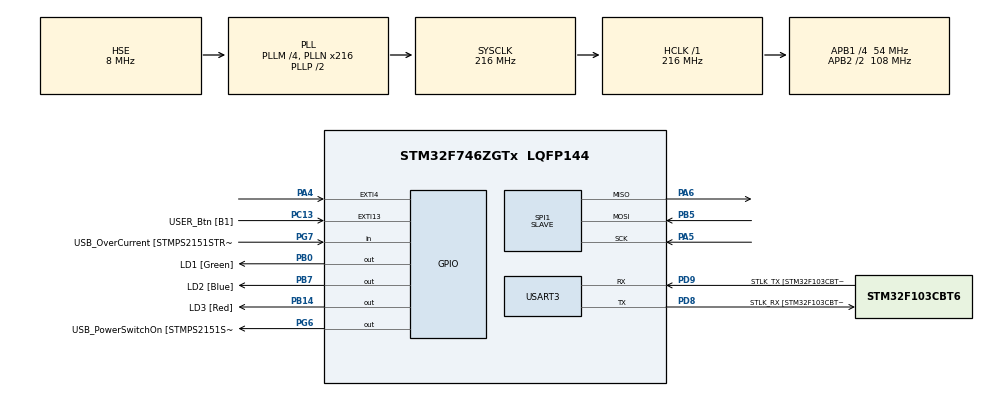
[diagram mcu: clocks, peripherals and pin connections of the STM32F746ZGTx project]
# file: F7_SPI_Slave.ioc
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Dma.Request0=SPI1_RX
Dma.Request1=SPI1_TX
Dma.SPI1_RX.0.Direction=DMA_PERIPH_TO_MEMORY
Dma.SPI1_RX.0.FIFOMode=DMA_FIFOMODE_DISABLE
Dma.SPI1_RX.0.Instance=DMA2_Stream0
Dma.SPI1_RX.0.MemDataAlignment=DMA_MDATAALIGN_BYTE
Dma.SPI1_RX.0.MemInc=DMA_MINC_ENABLE
Dma.SPI1_RX.0.Mode=DMA_NORMAL
Dma.SPI1_RX.0.PeriphDataAlignment=DMA_PDATAALIGN_BYTE
Dma.SPI1_RX.0.PeriphInc=DMA_PINC_DISABLE
Dma.SPI1_RX.0.Priority=DMA_PRIORITY_HIGH
Dma.SPI1_TX.1.Direction=DMA_MEMORY_TO_PERIPH
Dma.SPI1_TX.1.FIFOMode=DMA_FIFOMODE_DISABLE
Dma.SPI1_TX.1.Instance=DMA2_Stream3
Dma.SPI1_TX.1.MemDataAlignment=DMA_MDATAALIGN_BYTE
Dma.SPI1_TX.1.MemInc=DMA_MINC_ENABLE
Dma.SPI1_TX.1.Mode=DMA_NORMAL
Dma.SPI1_TX.1.PeriphDataAlignment=DMA_PDATAALIGN_BYTE
Dma.SPI1_TX.1.PeriphInc=DMA_PINC_DISABLE
Dma.SPI1_TX.1.Priority=DMA_PRIORITY_HIGH
Mcu.Family=STM32F7
Mcu.Name=STM32F746ZGTx
Mcu.Package=LQFP144
NVIC.DMA2_Stream0_IRQn=true\:0\:0\:false\:false\:true\:false\:true
NVIC.DMA2_Stream3_IRQn=true\:0\:0\:false\:false\:true\:false\:true
NVIC.EXTI4_IRQn=true\:0\:0\:false\:false\:true\:true\:true
NVIC.PriorityGroup=NVIC_PRIORITYGROUP_4
PA1.GPIO_Label=RMII_REF_CLK [LAN8742A-CZ-TR_REFCLK0]
PA1.Signal=ETH_REF_CLK
PA10.GPIO_Label=USB_ID
PA10.Signal=USB_OTG_FS_ID
PA11.GPIO_Label=USB_DM
PA11.Signal=USB_OTG_FS_DM
PA12.GPIO_Label=USB_DP
PA12.Signal=USB_OTG_FS_DP
PA13.GPIO_Label=TMS
PA13.Mode=Serial_Wire
PA13.Signal=SYS_JTMS-SWDIO
PA14.GPIO_Label=TCK
PA14.Mode=Serial_Wire
PA14.Signal=SYS_JTCK-SWCLK
PA2.GPIO_Label=RMII_MDIO [LAN8742A-CZ-TR_MDIO]
PA2.Signal=ETH_MDIO
PA4.GPIO_ModeDefaultEXTI=GPIO_MODE_IT_RISING_FALLING
PA4.Signal=GPXTI4
PA5.Mode=Full_Duplex_Slave
PA5.Signal=SPI1_SCK
PA6.Mode=Full_Duplex_Slave
PA6.Signal=SPI1_MISO
PA7.GPIO_Label=RMII_CRS_DV [LAN8742A-CZ-TR_CRS_DV]
PA7.Signal=ETH_CRS_DV
PA8.GPIO_Label=USB_SOF [TP1]
PA8.Signal=USB_OTG_FS_SOF
PA9.GPIO_Label=USB_VBUS
PA9.Signal=USB_OTG_FS_VBUS
PB0.GPIO_Label=LD1 [Green]
PB0.Signal=GPIO_Output
PB13.GPIO_Label=RMII_TXD1 [LAN8742A-CZ-TR_TXD1]
PB13.Signal=ETH_TXD1
PB14.GPIO_Label=LD3 [Red]
PB14.Signal=GPIO_Output
PB3.GPIO_Label=SW0
PB3.Signal=SYS_JTDO-SWO
PB5.Mode=Full_Duplex_Slave
PB5.Signal=SPI1_MOSI
PB7.GPIO_Label=LD2 [Blue]
PB7.Signal=GPIO_Output
PC1.GPIO_Label=RMII_MDC [LAN8742A-CZ-TR_MDC]
PC1.Signal=ETH_MDC
PC13.GPIO_Label=USER_Btn [B1]
PC13.Signal=GPXTI13
PC14/OSC32_IN.Mode=LSE-External-Oscillator
PC14/OSC32_IN.Signal=RCC_OSC32_IN
PC15/OSC32_OUT.Mode=LSE-External-Oscillator
PC15/OSC32_OUT.Signal=RCC_OSC32_OUT
PC4.GPIO_Label=RMII_RXD0 [LAN8742A-CZ-TR_RXD0]
PC4.Signal=ETH_RXD0
PC5.GPIO_Label=RMII_RXD1 [LAN8742A-CZ-TR_RXD1]
PC5.Signal=ETH_RXD1
PD8.GPIO_Label=STLK_RX [STM32F103CBT6_PA3]
PD8.Mode=Asynchronous
PD8.Signal=USART3_TX
PD9.GPIO_Label=STLK_TX [STM32F103CBT6_PA2]
PD9.Mode=Asynchronous
PD9.Signal=USART3_RX
PG11.GPIO_Label=RMII_TX_EN [LAN8742A-CZ-TR_TXEN]
PG11.Signal=ETH_TX_EN
PG13.GPIO_Label=RMII_TXD0 [LAN8742A-CZ-TR_TXD0]
PG13.Signal=ETH_TXD0
PG6.GPIO_Label=USB_PowerSwitchOn [STMPS2151STR_EN]
PG6.Signal=GPIO_Output
PG7.GPIO_Label=USB_OverCurrent [STMPS2151STR_FAULT]
PG7.Signal=GPIO_Input
PH0/OSC_IN.GPIO_Label=MCO [STM32F103CBT6_PA8]
PH0/OSC_IN.Mode=HSE-External-Clock-Source
PH0/OSC_IN.Signal=RCC_OSC_IN
PH1/OSC_OUT.Mode=HSE-External-Clock-Source
PH1/OSC_OUT.Signal=RCC_OSC_OUT
ProjectManager.HeapSize=0x200
ProjectManager.StackSize=0x400
ProjectManager.TargetToolchain=MDK-ARM V5
RCC.48MHZClocksFreq_Value=24000000
RCC.AHBFreq_Value=216000000
RCC.APB1CLKDivider=RCC_HCLK_DIV4
RCC.APB1Freq_Value=54000000
RCC.APB1TimFreq_Value=108000000
RCC.APB2CLKDivider=RCC_HCLK_DIV2
RCC.APB2Freq_Value=108000000
RCC.APB2TimFreq_Value=216000000
RCC.CortexFreq_Value=216000000
RCC.HCLKFreq_Value=216000000
RCC.HSE_VALUE=8000000
RCC.HSI_VALUE=16000000
RCC.PLLM=4
RCC.PLLMUL=RCC_PLL_MUL9
RCC.PLLN=216
RCC.PLLQ=9
RCC.PLLSourceVirtual=RCC_PLLSOURCE_HSE
RCC.PRESCALERUSB=RCC_USBCLKSOURCE_PLL_DIV1_5
RCC.SYSCLKFreq_VALUE=216000000
RCC.SYSCLKSource=RCC_SYSCLKSOURCE_PLLCLK
RCC.SYSCLKSourceVirtual=RCC_SYSCLKSOURCE_PLLCLK
RCC.USBFreq_Value=48000000
RCC.VCOOutputFreq_Value=432000000
SPI1.DataSize=SPI_DATASIZE_8BIT
SPI1.Direction=SPI_DIRECTION_2LINES
SPI1.Mode=SPI_MODE_SLAVE
SPI1.VirtualType=VM_SLAVE
USART3.VirtualMode-Asynchronous=VM_ASYNC
board=NUCLEO-F746ZG

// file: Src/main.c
/* USER CODE BEGIN Header */
/**
  ******************************************************************************
  * @file           : main.c
  * @brief          : Main program body
  ******************************************************************************
  * @attention
  *
  * <h2><center>&copy; Copyright (c) 2019 STMicroelectronics.
  * All rights reserved.</center></h2>
  *
  * This software component is licensed by ST under BSD 3-Clause license,
  * the "License"; You may not use this file except in compliance with the
  * License. You may obtain a copy of the License at:
  *                        opensource.org/licenses/BSD-3-Clause
  *
  ******************************************************************************
  */
/* USER CODE END Header */

#include "main.h"

/* USER CODE BEGIN Includes */
#include "spi_stack.h"
/* USER CODE END Includes */

SPI_HandleTypeDef hspi1;
DMA_HandleTypeDef hdma_spi1_rx;
DMA_HandleTypeDef hdma_spi1_tx;

UART_HandleTypeDef huart3;

void SystemClock_Config(void);
static void MX_GPIO_Init(void);
static void MX_DMA_Init(void);
static void MX_SPI1_Init(void);
static void MX_USART3_UART_Init(void);
/* USER CODE BEGIN PFP */
float pos[3],q[4];
uint8_t keys[4];
/* USER CODE END PFP */

int main(void)
{

  /* MCU Configuration--------------------------------------------------------*/

  /* Reset of all peripherals, Initializes the Flash interface and the Systick. */
  HAL_Init();

  /* Configure the system clock */
  SystemClock_Config();

  /* Initialize all configured peripherals */
  MX_GPIO_Init();
  MX_DMA_Init();
  MX_SPI1_Init();
  MX_USART3_UART_Init();
  /* USER CODE BEGIN 2 */
	spi_stack_init();
	int32_t val[3]={1 , 2 , 3};
  int32_t encoders[4]={100 , 2 , 3,4};
	int32_t forces[4] = {100,4,5,6};

  /* USER CODE END 2 */

  /* Infinite loop */
  /* USER CODE BEGIN WHILE */
  while (1)
  {
		HAL_Delay(10);
		readKeys(keys);
		pos[0]=(float)keys[0];
		pos[1]=(float)1.5;
		pos[2]=(float)2.5;
		IMP_Write(pos,q);
		IMU_Write(val,val,val);
		RPUs_Write(encoders,forces);
		SlidersRead(keys);
		val[0]=(int32_t)keys[0];
    /* USER CODE END WHILE */

  }
}

void SystemClock_Config(void)
{
  RCC_OscInitTypeDef RCC_OscInitStruct = {0};
  RCC_ClkInitTypeDef RCC_ClkInitStruct = {0};
  RCC_PeriphCLKInitTypeDef PeriphClkInitStruct = {0};

  /** Configure LSE Drive Capability
  */
  HAL_PWR_EnableBkUpAccess();
  /** Configure the main internal regulator output voltage
  */
  __HAL_RCC_PWR_CLK_ENABLE();
  __HAL_PWR_VOLTAGESCALING_CONFIG(PWR_REGULATOR_VOLTAGE_SCALE1);
  /** Initializes the CPU, AHB and APB busses clocks
  */
  RCC_OscInitStruct.OscillatorType = RCC_OSCILLATORTYPE_HSE;
  RCC_OscInitStruct.HSEState = RCC_HSE_BYPASS;
  RCC_OscInitStruct.PLL.PLLState = RCC_PLL_ON;
  RCC_OscInitStruct.PLL.PLLSource = RCC_PLLSOURCE_HSE;
  RCC_OscInitStruct.PLL.PLLM = 4;
  RCC_OscInitStruct.PLL.PLLN = 216;
  RCC_OscInitStruct.PLL.PLLP = RCC_PLLP_DIV2;
  RCC_OscInitStruct.PLL.PLLQ = 9;
  if (HAL_RCC_OscConfig(&RCC_OscInitStruct) != HAL_OK)
  {
    Error_Handler();
  }
  /** Activate the Over-Drive mode
  */
  if (HAL_PWREx_EnableOverDrive() != HAL_OK)
  {
    Error_Handler();
  }
  /** Initializes the CPU, AHB and APB busses clocks
  */
  RCC_ClkInitStruct.ClockType = RCC_CLOCKTYPE_HCLK|RCC_CLOCKTYPE_SYSCLK
                              |RCC_CLOCKTYPE_PCLK1|RCC_CLOCKTYPE_PCLK2;
  RCC_ClkInitStruct.SYSCLKSource = RCC_SYSCLKSOURCE_PLLCLK;
  RCC_ClkInitStruct.AHBCLKDivider = RCC_SYSCLK_DIV1;
  RCC_ClkInitStruct.APB1CLKDivider = RCC_HCLK_DIV4;
  RCC_ClkInitStruct.APB2CLKDivider = RCC_HCLK_DIV2;

  if (HAL_RCC_ClockConfig(&RCC_ClkInitStruct, FLASH_LATENCY_7) != HAL_OK)
  {
    Error_Handler();
  }
  PeriphClkInitStruct.PeriphClockSelection = RCC_PERIPHCLK_USART3;
  PeriphClkInitStruct.Usart3ClockSelection = RCC_USART3CLKSOURCE_PCLK1;
  if (HAL_RCCEx_PeriphCLKConfig(&PeriphClkInitStruct) != HAL_OK)
  {
    Error_Handler();
  }
}

static void MX_SPI1_Init(void)
{

  /* SPI1 parameter configuration*/
  hspi1.Instance = SPI1;
  hspi1.Init.Mode = SPI_MODE_SLAVE;
  hspi1.Init.Direction = SPI_DIRECTION_2LINES;
  hspi1.Init.DataSize = SPI_DATASIZE_8BIT;
  hspi1.Init.CLKPolarity = SPI_POLARITY_LOW;
  hspi1.Init.CLKPhase = SPI_PHASE_1EDGE;
  hspi1.Init.NSS = SPI_NSS_SOFT;
  hspi1.Init.FirstBit = SPI_FIRSTBIT_MSB;
  hspi1.Init.TIMode = SPI_TIMODE_DISABLE;
  hspi1.Init.CRCCalculation = SPI_CRCCALCULATION_DISABLE;
  hspi1.Init.CRCPolynomial = 7;
  hspi1.Init.CRCLength = SPI_CRC_LENGTH_DATASIZE;
  hspi1.Init.NSSPMode = SPI_NSS_PULSE_DISABLE;
  if (HAL_SPI_Init(&hspi1) != HAL_OK)
  {
    Error_Handler();
  }

}

static void MX_USART3_UART_Init(void)
{

  huart3.Instance = USART3;
  huart3.Init.BaudRate = 115200;
  huart3.Init.WordLength = UART_WORDLENGTH_8B;
  huart3.Init.StopBits = UART_STOPBITS_1;
  huart3.Init.Parity = UART_PARITY_NONE;
  huart3.Init.Mode = UART_MODE_TX_RX;
  huart3.Init.HwFlowCtl = UART_HWCONTROL_NONE;
  huart3.Init.OverSampling = UART_OVERSAMPLING_16;
  huart3.Init.OneBitSampling = UART_ONE_BIT_SAMPLE_DISABLE;
  huart3.AdvancedInit.AdvFeatureInit = UART_ADVFEATURE_NO_INIT;
  if (HAL_UART_Init(&huart3) != HAL_OK)
  {
    Error_Handler();
  }

}

static void MX_DMA_Init(void)
{
  /* DMA controller clock enable */
  __HAL_RCC_DMA2_CLK_ENABLE();

  /* DMA interrupt init */
  /* DMA2_Stream0_IRQn interrupt configuration */
  HAL_NVIC_SetPriority(DMA2_Stream0_IRQn, 0, 0);
  HAL_NVIC_EnableIRQ(DMA2_Stream0_IRQn);
  /* DMA2_Stream3_IRQn interrupt configuration */
  HAL_NVIC_SetPriority(DMA2_Stream3_IRQn, 0, 0);
  HAL_NVIC_EnableIRQ(DMA2_Stream3_IRQn);

}

static void MX_GPIO_Init(void)
{
  GPIO_InitTypeDef GPIO_InitStruct = {0};

  /* GPIO Ports Clock Enable */
  __HAL_RCC_GPIOC_CLK_ENABLE();
  __HAL_RCC_GPIOH_CLK_ENABLE();
  __HAL_RCC_GPIOA_CLK_ENABLE();
  __HAL_RCC_GPIOB_CLK_ENABLE();
  __HAL_RCC_GPIOD_CLK_ENABLE();
  __HAL_RCC_GPIOG_CLK_ENABLE();

  /*Configure GPIO pin Output Level */
  HAL_GPIO_WritePin(GPIOB, LD1_Pin|LD3_Pin|LD2_Pin, GPIO_PIN_RESET);

  /*Configure GPIO pin Output Level */
  HAL_GPIO_WritePin(USB_PowerSwitchOn_GPIO_Port, USB_PowerSwitchOn_Pin, GPIO_PIN_RESET);

  /*Configure GPIO pin : USER_Btn_Pin */
  GPIO_InitStruct.Pin = USER_Btn_Pin;
  GPIO_InitStruct.Mode = GPIO_MODE_IT_RISING;
  GPIO_InitStruct.Pull = GPIO_NOPULL;
  HAL_GPIO_Init(USER_Btn_GPIO_Port, &GPIO_InitStruct);

  /*Configure GPIO pins : RMII_MDC_Pin RMII_RXD0_Pin RMII_RXD1_Pin */
  GPIO_InitStruct.Pin = RMII_MDC_Pin|RMII_RXD0_Pin|RMII_RXD1_Pin;
  GPIO_InitStruct.Mode = GPIO_MODE_AF_PP;
  GPIO_InitStruct.Pull = GPIO_NOPULL;
  GPIO_InitStruct.Speed = GPIO_SPEED_FREQ_VERY_HIGH;
  GPIO_InitStruct.Alternate = GPIO_AF11_ETH;
  HAL_GPIO_Init(GPIOC, &GPIO_InitStruct);

  /*Configure GPIO pins : RMII_REF_CLK_Pin RMII_MDIO_Pin RMII_CRS_DV_Pin */
  GPIO_InitStruct.Pin = RMII_REF_CLK_Pin|RMII_MDIO_Pin|RMII_CRS_DV_Pin;
  GPIO_InitStruct.Mode = GPIO_MODE_AF_PP;
  GPIO_InitStruct.Pull = GPIO_NOPULL;
  GPIO_InitStruct.Speed = GPIO_SPEED_FREQ_VERY_HIGH;
  GPIO_InitStruct.Alternate = GPIO_AF11_ETH;
  HAL_GPIO_Init(GPIOA, &GPIO_InitStruct);

  /*Configure GPIO pin : PA4 */
  GPIO_InitStruct.Pin = GPIO_PIN_4;
  GPIO_InitStruct.Mode = GPIO_MODE_IT_RISING_FALLING;
  GPIO_InitStruct.Pull = GPIO_NOPULL;
  HAL_GPIO_Init(GPIOA, &GPIO_InitStruct);

  /*Configure GPIO pins : LD1_Pin LD3_Pin LD2_Pin */
  GPIO_InitStruct.Pin = LD1_Pin|LD3_Pin|LD2_Pin;
  GPIO_InitStruct.Mode = GPIO_MODE_OUTPUT_PP;
  GPIO_InitStruct.Pull = GPIO_NOPULL;
  GPIO_InitStruct.Speed = GPIO_SPEED_FREQ_LOW;
  HAL_GPIO_Init(GPIOB, &GPIO_InitStruct);

  /*Configure GPIO pin : RMII_TXD1_Pin */
  GPIO_InitStruct.Pin = RMII_TXD1_Pin;
  GPIO_InitStruct.Mode = GPIO_MODE_AF_PP;
  GPIO_InitStruct.Pull = GPIO_NOPULL;
  GPIO_InitStruct.Speed = GPIO_SPEED_FREQ_VERY_HIGH;
  GPIO_InitStruct.Alternate = GPIO_AF11_ETH;
  HAL_GPIO_Init(RMII_TXD1_GPIO_Port, &GPIO_InitStruct);

  /*Configure GPIO pin : USB_PowerSwitchOn_Pin */
  GPIO_InitStruct.Pin = USB_PowerSwitchOn_Pin;
  GPIO_InitStruct.Mode = GPIO_MODE_OUTPUT_PP;
  GPIO_InitStruct.Pull = GPIO_NOPULL;
  GPIO_InitStruct.Speed = GPIO_SPEED_FREQ_LOW;
  HAL_GPIO_Init(USB_PowerSwitchOn_GPIO_Port, &GPIO_InitStruct);

  /*Configure GPIO pin : USB_OverCurrent_Pin */
  GPIO_InitStruct.Pin = USB_OverCurrent_Pin;
  GPIO_InitStruct.Mode = GPIO_MODE_INPUT;
  GPIO_InitStruct.Pull = GPIO_NOPULL;
  HAL_GPIO_Init(USB_OverCurrent_GPIO_Port, &GPIO_InitStruct);

  /*Configure GPIO pins : USB_SOF_Pin USB_ID_Pin USB_DM_Pin USB_DP_Pin */
  GPIO_InitStruct.Pin = USB_SOF_Pin|USB_ID_Pin|USB_DM_Pin|USB_DP_Pin;
  GPIO_InitStruct.Mode = GPIO_MODE_AF_PP;
  GPIO_InitStruct.Pull = GPIO_NOPULL;
  GPIO_InitStruct.Speed = GPIO_SPEED_FREQ_VERY_HIGH;
  GPIO_InitStruct.Alternate = GPIO_AF10_OTG_FS;
  HAL_GPIO_Init(GPIOA, &GPIO_InitStruct);

  /*Configure GPIO pin : USB_VBUS_Pin */
  GPIO_InitStruct.Pin = USB_VBUS_Pin;
  GPIO_InitStruct.Mode = GPIO_MODE_INPUT;
  GPIO_InitStruct.Pull = GPIO_NOPULL;
  HAL_GPIO_Init(USB_VBUS_GPIO_Port, &GPIO_InitStruct);

  /*Configure GPIO pins : RMII_TX_EN_Pin RMII_TXD0_Pin */
  GPIO_InitStruct.Pin = RMII_TX_EN_Pin|RMII_TXD0_Pin;
  GPIO_InitStruct.Mode = GPIO_MODE_AF_PP;
  GPIO_InitStruct.Pull = GPIO_NOPULL;
  GPIO_InitStruct.Speed = GPIO_SPEED_FREQ_VERY_HIGH;
  GPIO_InitStruct.Alternate = GPIO_AF11_ETH;
  HAL_GPIO_Init(GPIOG, &GPIO_InitStruct);

  /* EXTI interrupt init*/
  HAL_NVIC_SetPriority(EXTI4_IRQn, 0, 0);
  HAL_NVIC_EnableIRQ(EXTI4_IRQn);

}

void Error_Handler(void)
{
}

/************************ (C) COPYRIGHT STMicroelectronics *****END OF FILE****/
